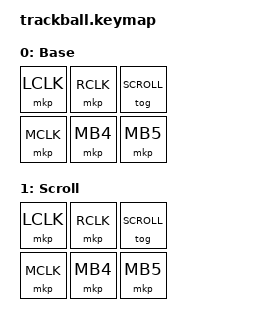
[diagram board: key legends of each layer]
/*
 * Copyright (c) 2026
 *
 * SPDX-License-Identifier: MIT
 */

#include <behaviors.dtsi>
#include <dt-bindings/zmk/keys.h>
#include <dt-bindings/zmk/pointing.h>

#define ___ &trans
#define SCROLL 1

/ {
    keymap {
        compatible = "zmk,keymap";

        base_layer {
            display-name = "Base";
            bindings = <
                &mkp LCLK &mkp RCLK &tog SCROLL
                &mkp MCLK &mkp MB4  &mkp MB5
            >;
        };

        scroll_layer {
            display-name = "Scroll";
            bindings = <
                &mkp LCLK &mkp RCLK &tog SCROLL
                &mkp MCLK &mkp MB4  &mkp MB5
            >;
        };
    };
};
